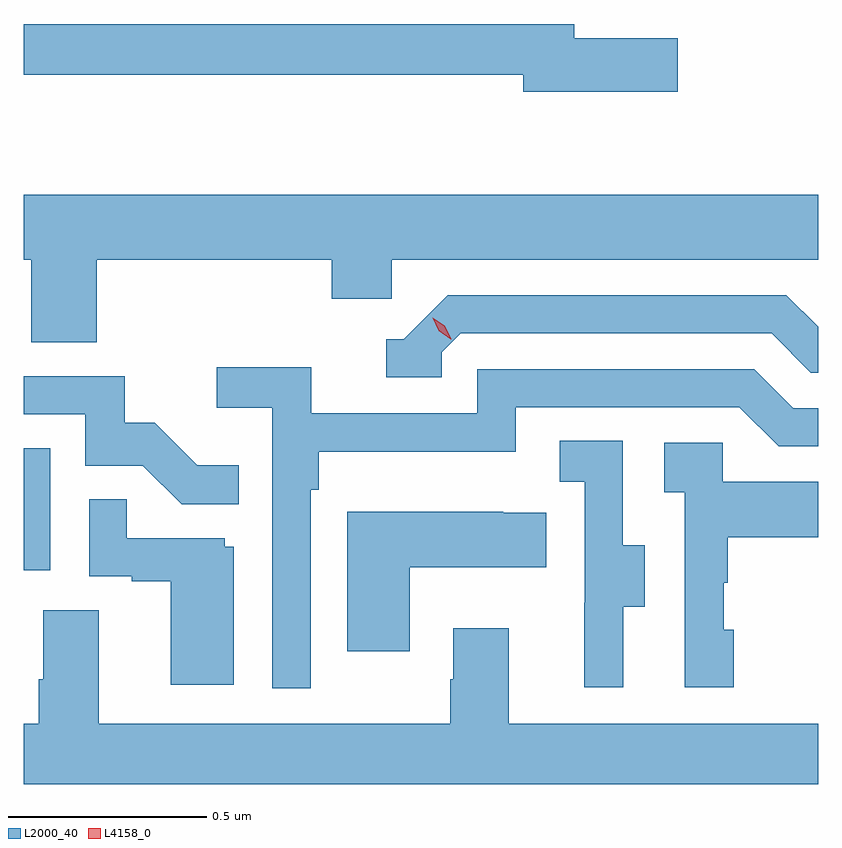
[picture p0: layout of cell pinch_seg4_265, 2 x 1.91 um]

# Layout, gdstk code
import gdstk
lib = gdstk.Library(unit=1e-6, precision=1e-09)
def R(c, l, rs):  # rectangles x0, y0, x1, y1
    for r in rs: c.add(gdstk.rectangle(r[:2], r[2:], *l))
def P(c, l, *ps):  # polygons
    for p in ps: c.add(gdstk.Polygon(p, *l))
L2000_40 = (2000, 40)
L4158_0 = (4158, 0)

pinch_seg4_265 = lib.new_cell('pinch_seg4_265')
R(pinch_seg4_265, L2000_40, [(927.322,828.006,927.388,828.313)])
P(pinch_seg4_265, L2000_40, [(928.969,829.346),(928.708,829.346),(928.708,829.382),(927.322,829.382),(927.322,829.254),(928.58,829.254),(928.58,829.211),(928.969,829.211)],
  [(927.506,828.788),(928.097,828.788),(928.097,828.69),(928.248,828.69),(928.248,828.788),(929.322,828.788),(929.322,828.952),(927.322,828.952),(927.322,828.788),(927.341,828.788),(927.341,828.58),(927.506,828.58)],
  [(928.374,828.555),(928.422,828.603),(929.205,828.603),(929.304,828.504),(929.322,828.504),(929.322,828.619),(929.242,828.699),(928.389,828.699),(928.278,828.588),(928.235,828.588),(928.235,828.492),(928.374,828.492)],
  [(928.044,828.209),(928.064,828.209),(928.064,828.305),(928.56,828.305),(928.56,828.417),(929.124,828.417),(929.223,828.318),(929.322,828.318),(929.322,828.414),(929.26,828.414),(929.161,828.513),(928.464,828.513),(928.464,828.402),(928.046,828.402),(928.046,828.518),(927.807,828.518),(927.807,828.416),(927.948,828.416),(927.948,827.709),(928.044,827.709)],
  [(927.863,828.271),(927.759,828.271),(927.652,828.378),(927.576,828.378),(927.576,828.495),(927.322,828.495),(927.322,828.399),(927.477,828.399),(927.477,828.27),(927.621,828.27),(927.719,828.172),(927.863,828.172)],
  [(928.831,827.914),(928.885,827.914),(928.885,828.069),(928.83,828.069),(928.83,828.332),(928.671,828.332),(928.671,828.229),(928.734,828.229),(928.734,827.925),(928.733,827.925),(928.733,827.712),(928.831,827.712)],
  [(929.11,827.856),(929.085,827.856),(929.085,827.975),(929.095,827.975),(929.095,828.089),(929.322,828.089),(929.322,828.229),(929.082,828.229),(929.082,828.327),(928.935,828.327),(928.935,828.203),(928.986,828.203),(928.986,827.712),(929.11,827.712)],
  [(927.85,828.066),(927.828,828.066),(927.828,828.087),(927.581,828.087),(927.581,828.185),(927.486,828.185),(927.486,827.991),(927.593,827.991),(927.593,827.979),(927.692,827.979),(927.692,827.718),(927.85,827.718)],
  [(928.294,828.014),(928.637,828.014),(928.637,828.151),(928.529,828.151),(928.529,828.154),(928.136,828.154),(928.136,827.802),(928.294,827.802)],
  [(928.403,827.86),(928.403,827.732),(928.396,827.732),(928.396,827.62),(927.511,827.62),(927.511,827.906),(927.371,827.906),(927.371,827.732),(927.359,827.732),(927.359,827.62),(927.322,827.62),(927.322,827.468),(929.322,827.468),(929.322,827.62),(928.543,827.62),(928.543,827.86)])
P(pinch_seg4_265, L4158_0, [(928.397,828.588),(928.367,828.609),(928.352,828.642),(928.352,828.642),(928.352,828.642),(928.382,828.622),(928.398,828.589),(928.398,828.588)])

lib.write_gds('pinch_seg4_265.gds')
